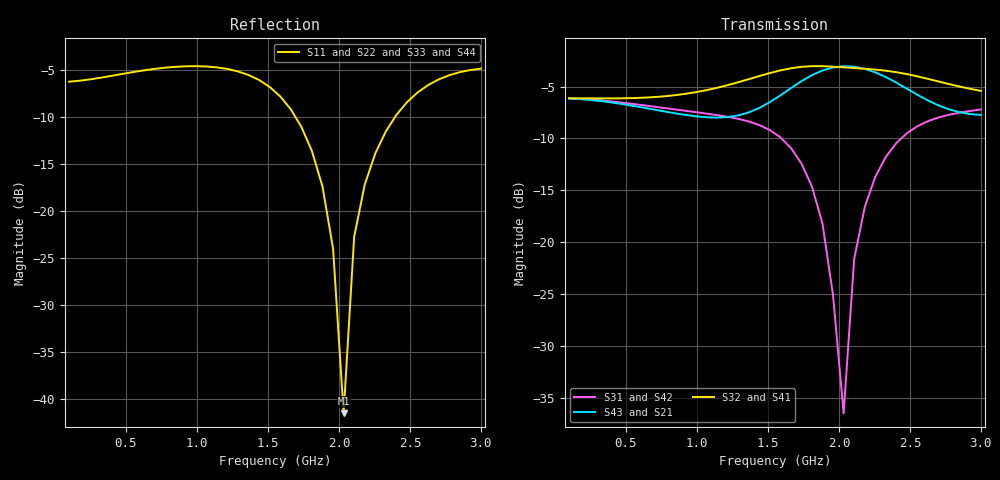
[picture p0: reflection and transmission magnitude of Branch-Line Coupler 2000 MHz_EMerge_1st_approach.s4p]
! Generated by EMerge - 4-port S-parameters
! File generated: 2026-02-16 17:40
! --- Branch-Line Coupler 2000 MHz ---
! Substrate: RO4003C
! h = 0.508 mm
! W50 = 1.1 mm, W35 = 1.87 mm
! L35 = 22 mm, L50 = 22 mm
! L_feed = 5 mm
! Run time = 1.62 min
# GHZ S RI R 50
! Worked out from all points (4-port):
!   40 points, 100 MHz to 3 GHz, reference 50 ohm
!   strongest paths, dB at 100 MHz, 843.6 MHz, 1.587 GHz, 2.331 GHz, 3 GHz:
!     S32: -6.1, -5.8, -3.4, -3.5, -5.4
!     S41: -6.1, -5.8, -3.4, -3.5, -5.4
!     S43: -6.2, -7.6, -5.9, -4.1, -7.7
!     S21: -6.2, -7.6, -5.9, -4.1, -7.7
!     S31: -6.1, -7.2, -9.9, -11.8, -7.2
!     S42: -6.1, -7.2, -9.9, -11.8, -7.2
!   lowest |S11| = -41.5 dB at 2.033 GHz (marker M1), VSWR 1.02, Z = 49.9 - j0.828 ohm
!   |S11| at or under -10 dB: 1.693 GHz to 2.396 GHz (703.3 MHz wide, 34.4 % of centre)
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0.1  -0.4858 0.015  0.4878 -0.0677  0.4869 -0.0764  0.4859 -0.0887
     0.4878 -0.0677  -0.4858 0.015  0.4859 -0.0887  0.4869 -0.0764
     0.4869 -0.0764  0.4859 -0.0887  -0.4858 0.015  0.4878 -0.0678
     0.4859 -0.0887  0.4869 -0.0764  0.4878 -0.0678  -0.4858 0.015
1.661538  0.0831 0.3363  -0.0379 -0.5507  -0.2683 -0.0959  -0.6879 -0.0443
          -0.0379 -0.5507  0.0822 0.3379  -0.6872 -0.0455  -0.2682 -0.0962
          -0.2683 -0.0959  -0.6872 -0.0455  0.0818 0.3376  -0.0389 -0.5508
          -0.6879 -0.0443  -0.2682 -0.0962  -0.0389 -0.5508  0.082 0.3362
1.958974  0.0489 0.0399  -0.4185 -0.5548  -0.046 0.0309  -0.5589 0.4233
          -0.4185 -0.5547  0.0499 0.0423  -0.56 0.4215  -0.0462 0.0305
          -0.046 0.0309  -0.56 0.4215  0.0494 0.0426  -0.4196 -0.5539
          -0.5589 0.4233  -0.0462 0.0305  -0.4196 -0.554  0.0477 0.0409
2.033333  -0.00134 -0.0083  -0.513 -0.4829  0.0136 -0.00647  -0.4756 0.5077
          -0.513 -0.4829  0.000308 -0.00616  -0.4772 0.5062  0.0132 -0.00683
          0.0135 -0.00648  -0.4772 0.5062  -0.000129 -0.00572  -0.5139 -0.4819
          -0.4756 0.5077  0.0132 -0.00682  -0.5139 -0.4819  -0.00239 -0.00712
2.107692  -0.0592 -0.0426  -0.5837 -0.3878  0.051 -0.0655  -0.3813 0.575
          -0.5837 -0.3878  -0.0571 -0.041  -0.3834 0.574  0.0506 -0.0658
          0.051 -0.0656  -0.3834 0.574  -0.0574 -0.0404  -0.5845 -0.3866
          -0.3813 0.575  0.0506 -0.0658  -0.5845 -0.3866  -0.0601 -0.0413
2.25641  -0.19 -0.0688  -0.6351 -0.1735  0.0407 -0.2026  -0.1689 0.6563
         -0.6351 -0.1736  -0.1876 -0.0682  -0.1712 0.6566  0.0401 -0.2026
         0.0406 -0.2026  -0.1712 0.6566  -0.1876 -0.0677  -0.6355 -0.1722
         -0.1689 0.6563  0.0401 -0.2026  -0.6355 -0.1722  -0.1906 -0.0673
3  -0.3828 0.4224  -0.3486 0.2175  -0.4313 -0.0651  0.5113 0.157
   -0.3486 0.2175  -0.3825 0.4217  0.5121 0.1581  -0.4311 -0.0646
   -0.4313 -0.0651  0.5121 0.1581  -0.3826 0.4219  -0.3472 0.2185
   0.5113 0.157  -0.4311 -0.0646  -0.3472 0.2185  -0.3825 0.4236
